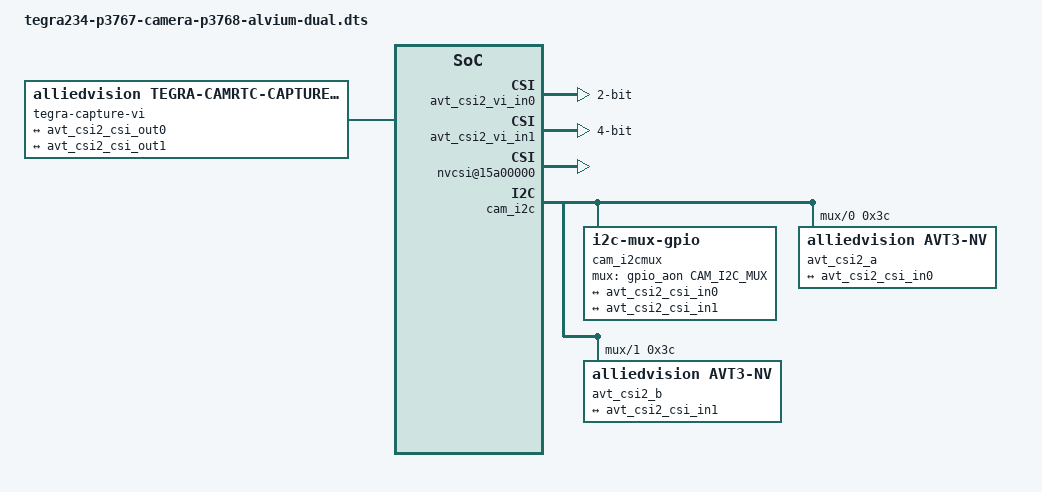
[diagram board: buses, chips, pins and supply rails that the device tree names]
/dts-v1/;
/plugin/;

#include <dt-bindings/clock/tegra234-clock.h>
#include <dt-bindings/gpio/tegra234-gpio.h>

#define CAM_I2C_MUX 	TEGRA234_AON_GPIO(CC, 3)

#define CIL_SETTLETIME  "0"
#define MIPI_CLOCK 		750000000

/ {
	overlay-name = "Allied Vision Alvium Dual";
	jetson-header-name = "Jetson 24pin CSI Connector";
	compatible = "nvidia,p3768-0000+p3767-0000", "nvidia,p3768-0000+p3767-0001", "nvidia,p3768-0000+p3767-0003", "nvidia,p3768-0000+p3767-0004", "nvidia,p3768-0000+p3767-0005";

	fragment@0 {
		target-path = "/";
		__overlay__ {
			tegra-capture-vi {
				status = "okay";
				compatible = "alliedvision,tegra-camrtc-capture-vi", "nvidia,tegra-camrtc-capture-vi";
				num-channels = <2>;
				ports {
					#address-cells = <1>;
					#size-cells = <0>;
					status = "okay";
					port@0 {
						status ="okay";
						reg = <0>;
						avt_csi2_vi_in0: endpoint {
							status = "okay";
							port-index = <1>;
							bus-width = <2>;
							remote-endpoint = <&avt_csi2_csi_out0>;
						};
					};

					port@1 {
						status ="okay";
						reg = <1>;
						avt_csi2_vi_in1: endpoint {
							status = "okay";
							port-index = <2>;
							bus-width = <4>;
							remote-endpoint = <&avt_csi2_csi_out1>;
						};
					};
				};
			};

		};
	};

	fragment@1 {
		target-path="/bus@0";
		__overlay__ {
			host1x@13e00000 {
				nvcsi@15a00000 {
					status = "okay";
					num-channels = <2>;
					#address-cells = <1>;
					#size-cells = <0>;

					channel@0 {
						status = "okay";
						reg = <0>;

						ports {
							#address-cells = <1>;
							#size-cells = <0>;
							status = "okay";

							port@0 {
								status = "okay";
								reg = <0>;

								avt_csi2_csi_in0: endpoint@0 {
									status = "okay";
									port-index = <1>;
									bus-width = <2>;
									remote-endpoint = <&avt_csi2_out0>;
								};
							};

							port@1 {
								status = "okay";
								reg = <1>;

								avt_csi2_csi_out0: endpoint@1 {
									status = "okay";
									remote-endpoint = <&avt_csi2_vi_in0>;
								};
							};
						};
					};

					channel@1 {
						status = "okay";
						reg = <1>;
						ports {
							#address-cells = <1>;
							#size-cells = <0>;
							port@0 {
								status = "okay";
								reg = <0>;
								avt_csi2_csi_in1: endpoint@2 {
									status = "okay";
									port-index = <2>;
									bus-width = <4>;
									remote-endpoint = <&avt_csi2_out1>;
								};
							};
							port@1 {
								status = "okay";
								reg = <1>;
								avt_csi2_csi_out1: endpoint@3 {
									status = "okay";
									remote-endpoint = <&avt_csi2_vi_in1>;
								};
							};
						};
					};
				};
			};
		};
	};


	fragment@2 {
		target-path = "/bus@0";

		__overlay__ {
			cam_i2cmux {
				status = "okay";
				compatible = "i2c-mux-gpio";
				#address-cells = <1>;
				#size-cells = <0>;
				mux-gpios = <&gpio_aon CAM_I2C_MUX GPIO_ACTIVE_HIGH>;
				i2c-parent = <&cam_i2c>;
				i2c@0 {
					status = "okay";
					reg = <0>;
					#address-cells = <1>;
					#size-cells = <0>;
					rbpcv2_imx219_a@10 {
						status = "disabled";
					};

					avt_csi2_a@3c {
						status = "okay";
                                                reg = <0x3c>;
                                                compatible =  "alliedvision,avt3-nv", "alliedvision,avt_csi2";

						devnode = "video0";

						ports {
							#address-cells = <1>;
							#size-cells = <0>;

							port@0 {
								reg = <0>;
								avt_csi2_out0: endpoint {
									port-index = <1>;
									bus-width = <2>;
									data-lanes = <1 2>;
									clock-lanes = <0>;
									link-frequencies = /bits/ 64 <MIPI_CLOCK>;
									remote-endpoint = <&avt_csi2_csi_in0>;
								};
							};
						};

						mode0 {
							num_lanes = "2";
							tegra_sinterface = "serial_b";
							discontinuous_clk = "no";
							cil_settletime = CIL_SETTLETIME;
							embedded_metadata_height = "0";
							lane_polarity = "6";

							/* not verified: */
							mclk_khz = "24000";
							phy_mode = "DPHY";
							dpcm_enable = "false";

							csi_pixel_bit_depth = "4";

							active_w = "5488";
							active_h = "4112";
							pixel_t = "bayer_bggr";
							readout_orientation = "0";
							line_length = "5488";
							inherent_gain = "1";
							mclk_multiplier = "80";
							pix_clk_hz = "1500000000";

							gain_factor = "16";
							framerate_factor = "1000000";
							exposure_factor = "1000000";
							min_gain_val = "16"; /* 1.0 */
							max_gain_val = "256"; /* 16.0 */
							step_gain_val = "1"; /* 0.125 */
							min_hdr_ratio = "1";
							max_hdr_ratio = "64";
							min_framerate = "1500000"; /* 1.5 */
							max_framerate = "30000000"; /* 30 */
							step_framerate = "1";
							min_exp_time = "34"; /* us */
							max_exp_time = "550385"; /* us */
							step_exp_time = "1";
						};
					};
				};
				i2c@1 {
					status = "okay";
					reg = <1>;
					#address-cells = <1>;
					#size-cells = <0>;

					rbpcv2_imx219_c@10 {
						status = "disabled";
					};

					avt_csi2_b@3c {
						status = "okay";
                                                reg = <0x3c>;
                                                compatible =  "alliedvision,avt3-nv", "alliedvision,avt_csi2";
                                                
						devnode = "video1";
						
						

						ports {
							#address-cells = <1>;
							#size-cells = <0>;

							port@0 {
								reg = <0>;
								avt_csi2_out1: endpoint {
									port-index = <2>;
									bus-width = <4>;
									data-lanes = <1 2 3 4>;
									clock-lanes = <0>;
									link-frequencies = /bits/ 64 <MIPI_CLOCK>;
									remote-endpoint = <&avt_csi2_csi_in1>;
								};
							};
						};

						mode0 {
							num_lanes = "4";
							tegra_sinterface = "serial_c";
							discontinuous_clk = "no";
							cil_settletime = CIL_SETTLETIME;
							embedded_metadata_height = "0";

							/* not verified: */
							mclk_khz = "24000";
							phy_mode = "DPHY";
							dpcm_enable = "false";

							csi_pixel_bit_depth = "4";

							active_w = "5488";
							active_h = "4112";
							pixel_t = "bayer_bggr";
							readout_orientation = "0";
							line_length = "5488";
							inherent_gain = "1";
							mclk_multiplier = "80";
							pix_clk_hz = "1500000000";

							gain_factor = "16";
							framerate_factor = "1000000";
							exposure_factor = "1000000";
							min_gain_val = "16"; /* 1.0 */
							max_gain_val = "256"; /* 16.0 */
							step_gain_val = "1"; /* 0.125 */
							min_hdr_ratio = "1";
							max_hdr_ratio = "64";
							min_framerate = "1500000"; /* 1.5 */
							max_framerate = "30000000"; /* 30 */
							step_framerate = "1";
							min_exp_time = "34"; /* us */
							max_exp_time = "550385"; /* us */
							step_exp_time = "1";
						};
					};
				};
			};
		};
	};

	fragment@3 {
		target-path = "/";
		__overlay__ {
			avt_csitl {
				supported_data_types = [ 31 ];
				min_announced_frames = <1>;

				ipu {
					y_min = <32>;
					y_inc = <1>;
					y_max = <32768>;
					x_min = <256>;
					x_inc = <192>;
					x_max = <32768>;
				};
			};


			tegra-camera-platform {
				status = "okay";

				num_csi_lanes = <8>;
				max_lane_speed = <1500000>;
				min_bits_per_pixel = <8>;
				vi_peak_byte_per_pixel = <2>;
				vi_bw_margin_pct = <25>;
				max_pixel_rate = <160000>;
				isp_peak_byte_per_pixel = <5>;
				isp_bw_margin_pct = <25>;

				modules {
					status = "okay";

					module0 {
						status = "okay";
						badge = "avt_csi2_a";
						position = "front";
						orientation = "1";

						drivernode0 {
							status = "okay";
							/* Declare PCL support driver (classically known as guid)  */
							pcl_id = "v4l2_sensor";
							/* Driver v4l2 device name */
							devname = "avt_csi2_a";
							/* Declare the device-tree hierarchy to driver instance */
							proc-device-tree = "/proc/device-tree/bus@0/i2c@3180000/avt_csi2_a@3c";
						};
					};
                                        module1 {
						status = "okay";
						badge = "avt_csi2_b";
						position = "rear";
						orientation = "1";

						drivernode0 {
							status = "okay";
							/* Declare PCL support driver (classically known as guid)  */
							pcl_id = "v4l2_sensor";
							/* Driver v4l2 device name */
							devname = "avt_csi2_b";
							/* Declare the device-tree hierarchy to driver instance */
							proc-device-tree = "/proc/device-tree/bus@0/i2c@3180000/avt_csi2_b@3c";
						};
					};
				};
			};
		};
	};

};
